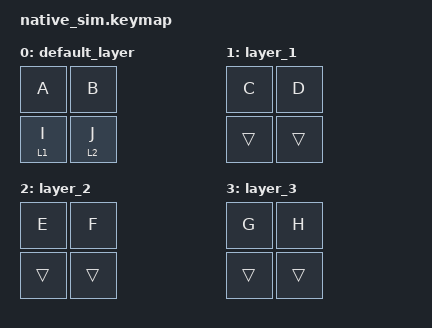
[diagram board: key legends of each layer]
#include <behaviors.dtsi>
#include <dt-bindings/zmk/keys.h>
#include <dt-bindings/zmk/kscan_mock.h>

&lt {
    flavor = "balanced";
};

/ {
    conditional_layers {
        compatible = "zmk,conditional-layers";
        tri_layer {
            if-layers = <1 2>;
            then-layer = <3>;
        };
    };

    keymap {
        compatible = "zmk,keymap";
        default_layer {
            bindings = <
                &kp A &kp B
                &lt 1 I &lt 2 J
            >;
        };
        layer_1 {
            bindings = <
                &kp C &kp D
                &trans &trans
            >;
        };
        layer_2 {
            bindings = <
                &kp E &kp F
                &trans &trans
            >;
        };
        layer_3 {
            bindings = <
                &kp G &kp H
                &trans &trans
            >;
        };
    };
};

&kscan {
    events = <
        ZMK_MOCK_PRESS(1,0,10)
        ZMK_MOCK_PRESS(1,1,10)
        ZMK_MOCK_PRESS(0,0,10)
        ZMK_MOCK_RELEASE(0,0,10)
        ZMK_MOCK_RELEASE(1,1,10)
        ZMK_MOCK_RELEASE(1,0,10)
    >;
};
